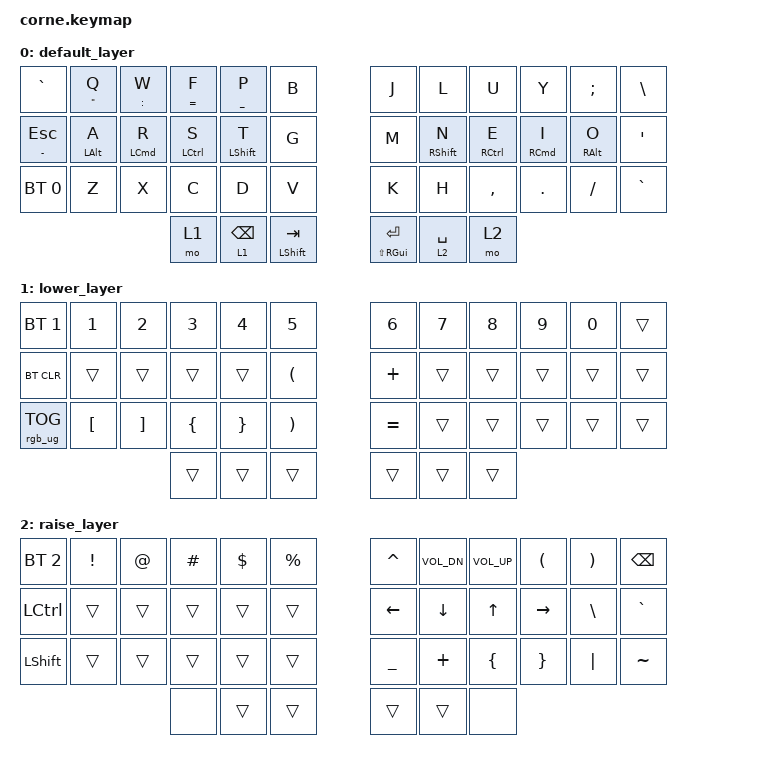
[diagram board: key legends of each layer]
/*
 * Copyright (c) 2020 The ZMK Contributors
 *
 * SPDX-License-Identifier: MIT
 */

#include <behaviors.dtsi>
#include <dt-bindings/zmk/bt.h>
#include <dt-bindings/zmk/keys.h>
#include <dt-bindings/zmk/rgb.h>

/ {
    behaviors {
        tap_hold: tap_hold {
            compatible = "zmk,behavior-hold-tap";
            label = "TAP_HOLD";
            bindings = <&kp>, <&kp>;

            #binding-cells = <2>;
            tapping-term-ms = <300>;
            flavor = "tap-preferred";
        };

        long_tap_hold: long_tap_hold {
            compatible = "zmk,behavior-hold-tap";
            label = "LONG_TAP_HOLD";
            bindings = <&kp>, <&kp>;

            #binding-cells = <2>;
            tapping-term-ms = <400>;
            flavor = "tap-preferred";
        };

        fast_tap_hold: fast_tap_hold {
            compatible = "zmk,behavior-hold-tap";
            label = "FAST_TAP_HOLD";
            bindings = <&kp>, <&kp>;

            #binding-cells = <2>;
            tapping-term-ms = <150>;
        };

        bspc_layer: bspc_layer {
            compatible = "zmk,behavior-hold-tap";
            label = "BSPC_LAYER";
            bindings = <&mo>, <&kp>;

            #binding-cells = <2>;
            flavor = "tap-preferred";
            tapping-term-ms = <200>;
            quick-tap-ms = <200>;
        };

        tap_layer_hold: tap_layer_hold {
            compatible = "zmk,behavior-hold-tap";
            label = "TAP_LAYER_HOLD";
            bindings = <&mo>, <&kp>;

            #binding-cells = <2>;
            flavor = "tap-preferred";
            tapping-term-ms = <200>;
        };
    };

    keymap {
        compatible = "zmk,keymap";

        default_layer {
            // Colemak-DH base layer. Hold-tap keys are written tap/hold.
            // -----------------------------------------------------------------------------------------
            // |  `~  |  Q  |  W  |  F  |  P  |  B  |   |  J  |  L  |  U  |  Y  |  ;  |  \   |
            // | ESC/-|  A  |  R  |  S  |  T  |  G  |   |  M  |  N  |  E  |  I  |  O  |  '   |
            // | BT0  |  Z  |  X  |  C  |  D  |  V  |   |  K  |  H  |  ,  |  .  |  /  |  `   |
            //                    | MO1 | BSP/L1 | TAB/LSFT |   | RET/LS(RGUI) | SPC/L2 | MO2 |
            // Home row holds: A=LALT (long)  R=LGUI  S=LCTRL  T=LSHIFT | N=RSHIFT  E=RCTRL  I=RGUI  O=RALT (long)
            // Top row holds:  Q="  W=:  F==  P=_
            // Left thumb BSP/L1: tap = Backspace, hold = Layer 1, quick second press + hold = repeating Backspace

            bindings = <
&kp GRAVE     &tap_hold DOUBLE_QUOTES Q  &tap_hold COLON W         &tap_hold EQUAL F  &tap_hold UNDERSCORE P       &kp B                            &kp J                           &kp L                    &kp U              &kp Y                      &kp SEMICOLON               &kp BACKSLASH
&tap_hold MINUS ESC  &long_tap_hold LEFT_ALT A  &tap_hold LEFT_COMMAND R  &tap_hold LCTRL S  &tap_hold LEFT_SHIFT T       &kp G                            &kp M                           &tap_hold RSHIFT N       &tap_hold RCTRL E  &tap_hold RIGHT_COMMAND I  &long_tap_hold RIGHT_ALT O  &kp SQT
&bt BT_SEL 0  &kp Z                      &kp X                     &kp C              &kp D                        &kp V                            &kp K                           &kp H                    &kp COMMA          &kp DOT                    &kp FSLH                    &kp GRAVE
                                                                   &mo 1              &bspc_layer 1 BACKSPACE      &fast_tap_hold LEFT_SHIFT TAB    &tap_hold LS(RIGHT_GUI) RETURN  &tap_layer_hold 2 SPACE  &mo 2
            >;
        };

        lower_layer {
            // -----------------------------------------------------------------------------------------
            // |  TAB |  1  |  2  |  3  |  4  |  5  |   |  6  |  7  |  8  |  9  |  0  | BSPC |
            // | BTCLR| BT1 | BT2 | BT3 | BT4 | BT5 |   | LFT | DWN |  UP | RGT |     |      |
            // | SHFT |     |     |     |     |     |   |     |     |     |     |     |      |
            //                    | GUI |     | SPC |   | ENT |     | ALT |

            bindings = <
&bt BT_SEL 1     &kp N1            &kp N2             &kp N3          &kp N4           &kp N5                   &kp NUMBER_6  &kp N7        &kp N8        &kp N9        &kp N0  &trans
&bt BT_CLR       &trans            &trans             &trans          &trans           &kp LEFT_PARENTHESIS     &kp PLUS   &trans        &trans        &trans        &trans  &trans
&rgb_ug RGB_TOG  &kp LEFT_BRACKET  &kp RIGHT_BRACKET  &kp LEFT_BRACE  &kp RIGHT_BRACE  &kp RIGHT_PARENTHESIS    &kp EQUAL  &trans        &trans        &trans        &trans  &trans
                                                      &trans          &trans           &trans                   &trans     &trans        &trans
            >;
        };

        raise_layer {
            // -----------------------------------------------------------------------------------------
            // |  TAB |  !  |  @  |  #  |  $  |  %  |   |  ^  |  &  |  *  |  (  |  )  | BSPC |
            // | CTRL |     |     |     |     |     |   |  -  |  =  |  [  |  ]  |  \  |  `   |
            // | SHFT |     |     |     |     |     |   |  _  |  +  |  {  |  }  | "|" |  ~   |
            //                    | GUI |     | SPC |   | ENT |     | ALT |

            bindings = <
&bt BT_SEL 2  &kp EXCL  &kp AT  &kp HASH  &kp DLLR  &kp PRCNT    &kp CARET  &kp C_VOL_DN  &kp C_VOL_UP  &kp LPAR   &kp RPAR  &kp BSPC
&kp LCTRL     &trans    &trans  &trans    &trans    &trans       &kp LEFT   &kp DOWN  &kp UP_ARROW  &kp RIGHT  &kp BSLH  &kp GRAVE
&kp LSHFT     &trans    &trans  &trans    &trans    &trans       &kp UNDER  &kp PLUS  &kp LEFT_BRACE  &kp RIGHT_BRACE   &kp PIPE  &kp TILDE
                                &none     &trans    &trans       &trans     &trans    &none
            >;
        };
    };
};
